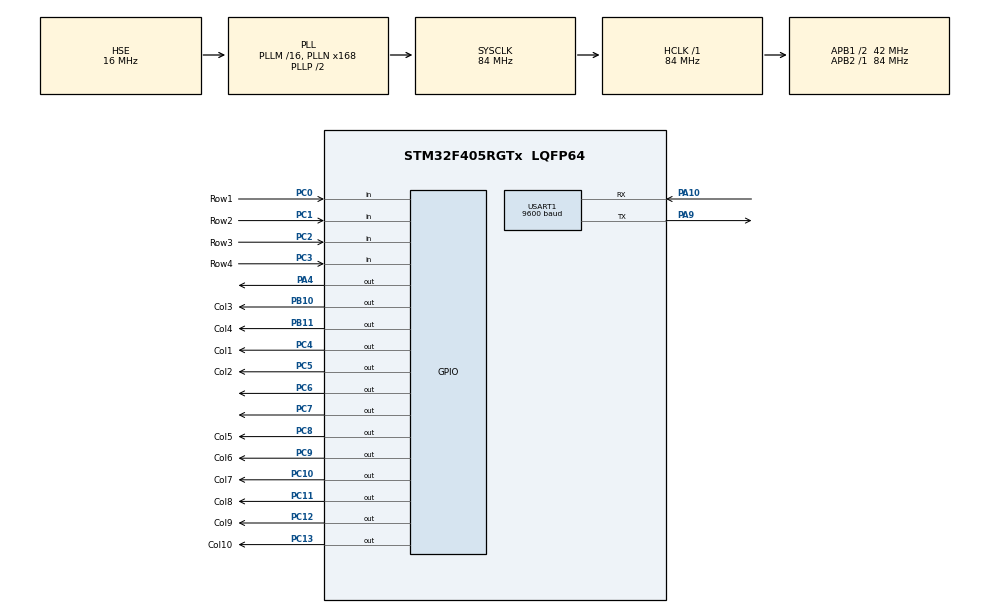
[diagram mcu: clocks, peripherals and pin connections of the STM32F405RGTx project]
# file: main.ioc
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Mcu.Family=STM32F4
Mcu.Name=STM32F405RGTx
Mcu.Package=LQFP64
NVIC.PriorityGroup=NVIC_PRIORITYGROUP_4
PA10.Mode=Asynchronous
PA10.Signal=USART1_RX
PA13.Mode=Serial_Wire
PA13.Signal=SYS_JTMS-SWDIO
PA14.Mode=Serial_Wire
PA14.Signal=SYS_JTCK-SWCLK
PA4.Signal=GPIO_Output
PA5.Signal=SPI1_SCK
PA9.Mode=Asynchronous
PA9.Signal=USART1_TX
PB10.GPIO_Label=Col3
PB10.Signal=GPIO_Output
PB11.GPIO_Label=Col4
PB11.Signal=GPIO_Output
PC0.GPIO_Label=Row1
PC0.GPIO_PuPd=GPIO_NOPULL
PC0.Signal=GPIO_Input
PC1.GPIO_Label=Row2
PC1.GPIO_PuPd=GPIO_NOPULL
PC1.Signal=GPIO_Input
PC10.GPIO_Label=Col7
PC10.Signal=GPIO_Output
PC11.GPIO_Label=Col8
PC11.Signal=GPIO_Output
PC12.GPIO_Label=Col9
PC12.Signal=GPIO_Output
PC13-ANTI_TAMP.GPIO_Label=Col10
PC13-ANTI_TAMP.Signal=GPIO_Output
PC14-OSC32_IN.Mode=LSE-External-Oscillator
PC14-OSC32_IN.Signal=RCC_OSC32_IN
PC15-OSC32_OUT.Mode=LSE-External-Oscillator
PC15-OSC32_OUT.Signal=RCC_OSC32_OUT
PC2.GPIO_Label=Row3
PC2.GPIO_PuPd=GPIO_NOPULL
PC2.Signal=GPIO_Input
PC3.GPIO_Label=Row4
PC3.GPIO_PuPd=GPIO_NOPULL
PC3.Signal=GPIO_Input
PC4.GPIO_Label=Col1
PC4.Signal=GPIO_Output
PC5.GPIO_Label=Col2
PC5.Signal=GPIO_Output
PC6.Signal=GPIO_Output
PC7.Signal=GPIO_Output
PC8.GPIO_Label=Col5
PC8.Signal=GPIO_Output
PC9.GPIO_Label=Col6
PC9.Signal=GPIO_Output
PH0-OSC_IN.Mode=HSE-External-Oscillator
PH0-OSC_IN.Signal=RCC_OSC_IN
PH1-OSC_OUT.Mode=HSE-External-Oscillator
PH1-OSC_OUT.Signal=RCC_OSC_OUT
ProjectManager.HeapSize=0x200
ProjectManager.StackSize=0x400
ProjectManager.TargetToolchain=Makefile
RCC.48MHZClocksFreq_Value=42000000
RCC.AHBFreq_Value=84000000
RCC.APB1CLKDivider=RCC_HCLK_DIV2
RCC.APB1Freq_Value=42000000
RCC.APB1TimFreq_Value=84000000
RCC.APB2Freq_Value=84000000
RCC.APB2TimFreq_Value=84000000
RCC.CortexFreq_Value=84000000
RCC.HCLKFreq_Value=84000000
RCC.HSE_VALUE=16000000
RCC.HSI_VALUE=16000000
RCC.PLLN=168
RCC.PLLSourceVirtual=RCC_PLLSOURCE_HSE
RCC.RCC_RTC_Clock_SourceVirtual=RCC_RTCCLKSOURCE_LSE
RCC.SYSCLKFreq_VALUE=84000000
RCC.SYSCLKSource=RCC_SYSCLKSOURCE_PLLCLK
RCC.VCOOutputFreq_Value=168000000
USART1.BaudRate=9600
USART1.VirtualMode=VM_ASYNC
board=main

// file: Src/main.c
#include "main.h"
#include "stm32f4xx_hal.h"

/* USER CODE BEGIN Includes */
/* vim: set ai et ts=4 sw=4: */
#include <string.h>
#include <stdarg.h>
#include <stdbool.h>

/* USER CODE END Includes */

UART_HandleTypeDef huart1;

/* USER CODE BEGIN PV */
/* Private variables ---------------------------------------------------------*/

/* USER CODE END PV */

void SystemClock_Config(void);
static void MX_GPIO_Init(void);
static void MX_USART1_UART_Init(void);

/* USER CODE BEGIN PFP */
/* Private function prototypes -----------------------------------------------*/

/* USER CODE END PFP */

/* USER CODE BEGIN 0 */

void UART_Printf(const char* fmt, ...) {
    char buff[256];
    va_list args;
    va_start(args, fmt);
    vsnprintf(buff, sizeof(buff), fmt, args);
    HAL_UART_Transmit(&huart1, (uint8_t*)buff, strlen(buff),
                      HAL_MAX_DELAY);
    va_end(args);
}

void keyboard_prepare() {
    HAL_GPIO_WritePin(Col1_GPIO_Port, Col1_Pin, GPIO_PIN_RESET);
    HAL_GPIO_WritePin(Col2_GPIO_Port, Col2_Pin, GPIO_PIN_RESET);
    HAL_GPIO_WritePin(Col3_GPIO_Port, Col3_Pin, GPIO_PIN_RESET);
    HAL_GPIO_WritePin(Col4_GPIO_Port, Col4_Pin, GPIO_PIN_RESET);
    HAL_GPIO_WritePin(Col5_GPIO_Port, Col5_Pin, GPIO_PIN_RESET);
    HAL_GPIO_WritePin(Col6_GPIO_Port, Col6_Pin, GPIO_PIN_RESET);
    HAL_GPIO_WritePin(Col7_GPIO_Port, Col7_Pin, GPIO_PIN_RESET);
    HAL_GPIO_WritePin(Col8_GPIO_Port, Col8_Pin, GPIO_PIN_RESET);
    HAL_GPIO_WritePin(Col9_GPIO_Port, Col9_Pin, GPIO_PIN_RESET);
    HAL_GPIO_WritePin(Col10_GPIO_Port, Col10_Pin, GPIO_PIN_RESET);
}

void change_column(uint8_t column) {
    switch(column) {
    case 0:
        HAL_GPIO_WritePin(Col10_GPIO_Port, Col10_Pin, GPIO_PIN_RESET);
        HAL_GPIO_WritePin(Col1_GPIO_Port, Col1_Pin, GPIO_PIN_SET);
        break;
    case 1:
        HAL_GPIO_WritePin(Col1_GPIO_Port, Col1_Pin, GPIO_PIN_RESET);
        HAL_GPIO_WritePin(Col2_GPIO_Port, Col2_Pin, GPIO_PIN_SET);
        break;
    case 2:
        HAL_GPIO_WritePin(Col2_GPIO_Port, Col2_Pin, GPIO_PIN_RESET);
        HAL_GPIO_WritePin(Col3_GPIO_Port, Col3_Pin, GPIO_PIN_SET);
        break;
    case 3:
        HAL_GPIO_WritePin(Col3_GPIO_Port, Col3_Pin, GPIO_PIN_RESET);
        HAL_GPIO_WritePin(Col4_GPIO_Port, Col4_Pin, GPIO_PIN_SET);
        break;
    case 4:
        HAL_GPIO_WritePin(Col4_GPIO_Port, Col4_Pin, GPIO_PIN_RESET);
        HAL_GPIO_WritePin(Col5_GPIO_Port, Col5_Pin, GPIO_PIN_SET);
        break;
    case 5:
        HAL_GPIO_WritePin(Col5_GPIO_Port, Col5_Pin, GPIO_PIN_RESET);
        HAL_GPIO_WritePin(Col6_GPIO_Port, Col6_Pin, GPIO_PIN_SET);
        break;
    case 6:
        HAL_GPIO_WritePin(Col6_GPIO_Port, Col6_Pin, GPIO_PIN_RESET);
        HAL_GPIO_WritePin(Col7_GPIO_Port, Col7_Pin, GPIO_PIN_SET);
        break;
    case 7:
        HAL_GPIO_WritePin(Col7_GPIO_Port, Col7_Pin, GPIO_PIN_RESET);
        HAL_GPIO_WritePin(Col8_GPIO_Port, Col8_Pin, GPIO_PIN_SET);
        break;
    case 8:
        HAL_GPIO_WritePin(Col8_GPIO_Port, Col8_Pin, GPIO_PIN_RESET);
        HAL_GPIO_WritePin(Col9_GPIO_Port, Col9_Pin, GPIO_PIN_SET);
        break;
    default: // 9
        HAL_GPIO_WritePin(Col9_GPIO_Port, Col9_Pin, GPIO_PIN_RESET);
        HAL_GPIO_WritePin(Col10_GPIO_Port, Col10_Pin, GPIO_PIN_SET);
    }
}

bool keyboard_read(uint8_t* out_row, uint8_t* out_col) {
    keyboard_prepare();
    for(uint8_t col = 0; col < 10; col++) {
        change_column(col);
        if(HAL_GPIO_ReadPin(Row1_GPIO_Port, Row1_Pin) == GPIO_PIN_SET) {
            *out_col = col;
            *out_row = 0;
            return true;
        } else if(HAL_GPIO_ReadPin(Row2_GPIO_Port, Row2_Pin) == GPIO_PIN_SET) {
            *out_col = col;
            *out_row = 1;
            return true;
        } else if(HAL_GPIO_ReadPin(Row3_GPIO_Port, Row3_Pin) == GPIO_PIN_SET) {
            *out_col = col;
            *out_row = 2;
            return true;
        } else if(HAL_GPIO_ReadPin(Row4_GPIO_Port, Row4_Pin) == GPIO_PIN_SET) {
            *out_col = col;
            *out_row = 3;
            return true;
        }
   }
   return false;
}

void init() {
    UART_Printf("Ready!\r\n");
    HAL_Delay(1);
}

static uint32_t total_clicks = 0;

void loop() {
    uint8_t row, col;
    if(keyboard_read(&row, &col)) {
        // discard impossible reads which sometimes
        // can happen because of noise RF signals
        // or because of accidental touch of button contacts
        if((row <= 2) || ((row == 3) && (col <= 4))) {
            total_clicks++;
            UART_Printf("row = %d, col = %d\r\n", row, col);
            UART_Printf("clks = %ld\r\n", total_clicks);
        }
    }

    HAL_Delay(10);
}

/* USER CODE END 0 */

int main(void)
{

  /* MCU Configuration----------------------------------------------------------*/

  /* Reset of all peripherals, Initializes the Flash interface and the Systick. */
  HAL_Init();

  /* Configure the system clock */
  SystemClock_Config();

  /* Initialize all configured peripherals */
  MX_GPIO_Init();
  MX_USART1_UART_Init();

  /* Infinite loop */
  /* USER CODE BEGIN WHILE */
  init();
  while (1)
  {
    loop();
  /* USER CODE END WHILE */

  }

}

/** System Clock Configuration
*/
void SystemClock_Config(void)
{

  RCC_OscInitTypeDef RCC_OscInitStruct;
  RCC_ClkInitTypeDef RCC_ClkInitStruct;

    /**Configure the main internal regulator output voltage
    */
  __HAL_RCC_PWR_CLK_ENABLE();

  __HAL_PWR_VOLTAGESCALING_CONFIG(PWR_REGULATOR_VOLTAGE_SCALE1);

    /**Initializes the CPU, AHB and APB busses clocks
    */
  RCC_OscInitStruct.OscillatorType = RCC_OSCILLATORTYPE_HSE;
  RCC_OscInitStruct.HSEState = RCC_HSE_ON;
  RCC_OscInitStruct.PLL.PLLState = RCC_PLL_ON;
  RCC_OscInitStruct.PLL.PLLSource = RCC_PLLSOURCE_HSE;
  RCC_OscInitStruct.PLL.PLLM = 16;
  RCC_OscInitStruct.PLL.PLLN = 168;
  RCC_OscInitStruct.PLL.PLLP = RCC_PLLP_DIV2;
  RCC_OscInitStruct.PLL.PLLQ = 4;
  if (HAL_RCC_OscConfig(&RCC_OscInitStruct) != HAL_OK)
  {
    _Error_Handler(__FILE__, __LINE__);
  }

    /**Initializes the CPU, AHB and APB busses clocks
    */
  RCC_ClkInitStruct.ClockType = RCC_CLOCKTYPE_HCLK|RCC_CLOCKTYPE_SYSCLK
                              |RCC_CLOCKTYPE_PCLK1|RCC_CLOCKTYPE_PCLK2;
  RCC_ClkInitStruct.SYSCLKSource = RCC_SYSCLKSOURCE_PLLCLK;
  RCC_ClkInitStruct.AHBCLKDivider = RCC_SYSCLK_DIV1;
  RCC_ClkInitStruct.APB1CLKDivider = RCC_HCLK_DIV2;
  RCC_ClkInitStruct.APB2CLKDivider = RCC_HCLK_DIV1;

  if (HAL_RCC_ClockConfig(&RCC_ClkInitStruct, FLASH_LATENCY_2) != HAL_OK)
  {
    _Error_Handler(__FILE__, __LINE__);
  }

    /**Configure the Systick interrupt time
    */
  HAL_SYSTICK_Config(HAL_RCC_GetHCLKFreq()/1000);

    /**Configure the Systick
    */
  HAL_SYSTICK_CLKSourceConfig(SYSTICK_CLKSOURCE_HCLK);

  /* SysTick_IRQn interrupt configuration */
  HAL_NVIC_SetPriority(SysTick_IRQn, 0, 0);
}

/* USART1 init function */
static void MX_USART1_UART_Init(void)
{

  huart1.Instance = USART1;
  huart1.Init.BaudRate = 9600;
  huart1.Init.WordLength = UART_WORDLENGTH_8B;
  huart1.Init.StopBits = UART_STOPBITS_1;
  huart1.Init.Parity = UART_PARITY_NONE;
  huart1.Init.Mode = UART_MODE_TX_RX;
  huart1.Init.HwFlowCtl = UART_HWCONTROL_NONE;
  huart1.Init.OverSampling = UART_OVERSAMPLING_16;
  if (HAL_UART_Init(&huart1) != HAL_OK)
  {
    _Error_Handler(__FILE__, __LINE__);
  }

}

/** Configure pins as
        * Analog
        * Input
        * Output
        * EVENT_OUT
        * EXTI
     PA5   ------> SPI1_SCK
*/
static void MX_GPIO_Init(void)
{

  GPIO_InitTypeDef GPIO_InitStruct;

  /* GPIO Ports Clock Enable */
  __HAL_RCC_GPIOC_CLK_ENABLE();
  __HAL_RCC_GPIOH_CLK_ENABLE();
  __HAL_RCC_GPIOA_CLK_ENABLE();
  __HAL_RCC_GPIOB_CLK_ENABLE();

  /*Configure GPIO pin Output Level */
  HAL_GPIO_WritePin(GPIOC, Col10_Pin|Col1_Pin|Col2_Pin|GPIO_PIN_6
                          |GPIO_PIN_7|Col5_Pin|Col6_Pin|Col7_Pin
                          |Col8_Pin|Col9_Pin, GPIO_PIN_RESET);

  /*Configure GPIO pin Output Level */
  HAL_GPIO_WritePin(GPIOA, GPIO_PIN_4, GPIO_PIN_RESET);

  /*Configure GPIO pin Output Level */
  HAL_GPIO_WritePin(GPIOB, Col3_Pin|Col4_Pin, GPIO_PIN_RESET);

  /*Configure GPIO pins : Col10_Pin Col1_Pin Col2_Pin PC6
                           PC7 Col5_Pin Col6_Pin Col7_Pin
                           Col8_Pin Col9_Pin */
  GPIO_InitStruct.Pin = Col10_Pin|Col1_Pin|Col2_Pin|GPIO_PIN_6
                          |GPIO_PIN_7|Col5_Pin|Col6_Pin|Col7_Pin
                          |Col8_Pin|Col9_Pin;
  GPIO_InitStruct.Mode = GPIO_MODE_OUTPUT_PP;
  GPIO_InitStruct.Pull = GPIO_NOPULL;
  GPIO_InitStruct.Speed = GPIO_SPEED_FREQ_LOW;
  HAL_GPIO_Init(GPIOC, &GPIO_InitStruct);

  /*Configure GPIO pins : Row1_Pin Row2_Pin Row3_Pin Row4_Pin */
  GPIO_InitStruct.Pin = Row1_Pin|Row2_Pin|Row3_Pin|Row4_Pin;
  GPIO_InitStruct.Mode = GPIO_MODE_INPUT;
  GPIO_InitStruct.Pull = GPIO_NOPULL;
  HAL_GPIO_Init(GPIOC, &GPIO_InitStruct);

  /*Configure GPIO pin : PA4 */
  GPIO_InitStruct.Pin = GPIO_PIN_4;
  GPIO_InitStruct.Mode = GPIO_MODE_OUTPUT_PP;
  GPIO_InitStruct.Pull = GPIO_NOPULL;
  GPIO_InitStruct.Speed = GPIO_SPEED_FREQ_LOW;
  HAL_GPIO_Init(GPIOA, &GPIO_InitStruct);

  /*Configure GPIO pin : PA5 */
  GPIO_InitStruct.Pin = GPIO_PIN_5;
  GPIO_InitStruct.Mode = GPIO_MODE_AF_PP;
  GPIO_InitStruct.Pull = GPIO_NOPULL;
  GPIO_InitStruct.Speed = GPIO_SPEED_FREQ_VERY_HIGH;
  GPIO_InitStruct.Alternate = GPIO_AF5_SPI1;
  HAL_GPIO_Init(GPIOA, &GPIO_InitStruct);

  /*Configure GPIO pins : Col3_Pin Col4_Pin */
  GPIO_InitStruct.Pin = Col3_Pin|Col4_Pin;
  GPIO_InitStruct.Mode = GPIO_MODE_OUTPUT_PP;
  GPIO_InitStruct.Pull = GPIO_NOPULL;
  GPIO_InitStruct.Speed = GPIO_SPEED_FREQ_LOW;
  HAL_GPIO_Init(GPIOB, &GPIO_InitStruct);

}

void _Error_Handler(char * file, int line)
{
  while(1)
  {
  }
}

/************************ (C) COPYRIGHT STMicroelectronics *****END OF FILE****/
